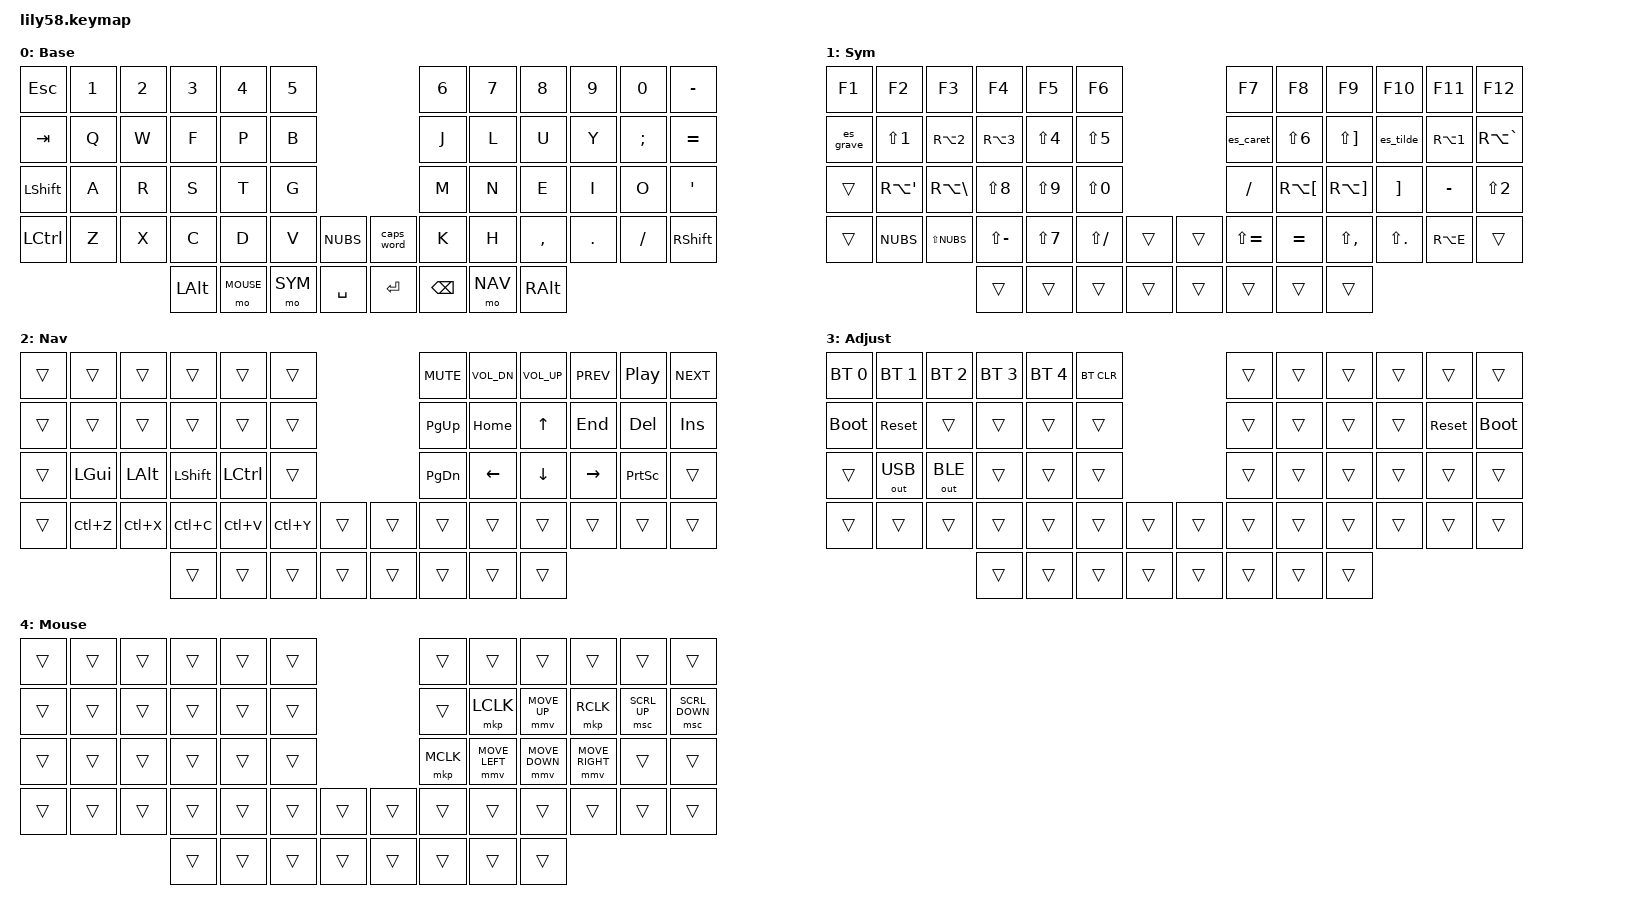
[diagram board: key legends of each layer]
/*
 * Lily58 - Colemak-DH para Windows con distribucion "Espanol (Espana)"
 * Enfocado en velocidad y ergonomia al tipear.
 *
 * IMPORTANTE: ZMK manda codigos de tecla "US". Como la PC esta en espanol,
 * cada tecla se traduce. Por eso aca los simbolos estan elegidos por la
 * tecla FISICA del layout espanol (ej: &kp SEMI = n con tilde, &kp LS(N8) = "(").
 *
 * Modificadores: Shift y Ctrl estan en los meniques (sin home row mods).
 *   Ctrl+C = Ctrl del menique izquierdo + C.
 *
 * Capas:
 *   0 BASE   Colemak-DH, la N con tilde arriba de la O
 *   1 SYM    (mantener pulgar izq.) simbolos de programacion + F1-F12
 *   2 NAV    (mantener pulgar der.) flechas, inicio/fin, multimedia
 *   3 ADJ    (SYM + NAV juntas) Bluetooth, USB/BLE, bootloader
 *   4 MOUSE  (mantener Esc del pulgar izq.) mover el mouse con las teclas de flechas de NAV
 */

#include <behaviors.dtsi>
#include <dt-bindings/zmk/bt.h>
#include <dt-bindings/zmk/ext_power.h>
#include <dt-bindings/zmk/keys.h>
#include <dt-bindings/zmk/outputs.h>
// Velocidad maxima del mouse (default 600 en ZMK). Mas alto = mas rapido.
#define ZMK_POINTING_DEFAULT_MOVE_VAL 1200
#include <dt-bindings/zmk/pointing.h>

#define BASE  0
#define SYM   1
#define NAV   2
#define ADJ   3
#define MOUSE 4

// Caps Word: tambien sigue activo con "_" (en espanol es Shift + la tecla de "-")
&caps_word {
    continue-list = <LS(FSLH) BACKSPACE DELETE>;
};

/ {
    macros {
        // En espanol ` ^ ~ son "teclas muertas": se manda la tecla + espacio
        // para que salga el simbolo solo (util para JS, regex, etc.)
        es_grave: es_grave {
            compatible = "zmk,behavior-macro";
            #binding-cells = <0>;
            bindings = <&macro_tap &kp LBKT &kp SPACE>;
        };
        es_caret: es_caret {
            compatible = "zmk,behavior-macro";
            #binding-cells = <0>;
            bindings = <&macro_tap &kp LS(LBKT) &kp SPACE>;
        };
        es_tilde: es_tilde {
            compatible = "zmk,behavior-macro";
            #binding-cells = <0>;
            bindings = <&macro_tap &kp RA(N4) &kp SPACE>;
        };
    };

    conditional_layers {
        compatible = "zmk,conditional-layers";
        adjust {
            if-layers = <SYM NAV>;
            then-layer = <ADJ>;
        };
    };

    keymap {
        compatible = "zmk,keymap";

        // ,-----------------------------------------.                    ,-----------------------------------------.
        // | ESC  |  1   |  2   |  3   |  4   |  5   |                    |  6   |  7   |  8   |  9   |  0   | ' ?  |
        // | TAB  |  Q   |  W   |  F   |  P   |  B   |                    |  J   |  L   |  U   |  Y   |  Ñ   | ¡ ¿  |
        // | SHFT |  A   |  R   |  S   |  T   |  G   |                    |  M   |  N   |  E   |  I   |  O   | ´ ¨  |
        // | CTRL |  Z   |  X   |  C   |  D   |  V   |-------.    ,-------|  K   |  H   | , ;  | . :  | - _  | SHFT |
        // `-----------------------------------------|  < >  |    |CAPSWRD|-----------------------------------------'
        //                    | ALT  |MOUSE | SYM  | SPACE |    | ENTER | BSPC | NAV  |AltGr |
        base {
            display-name = "Base";
            bindings = <
&kp ESC    &kp N1        &kp N2        &kp N3         &kp N4         &kp N5                               &kp N6   &kp N7         &kp N8         &kp N9        &kp N0        &kp MINUS
&kp TAB    &kp Q         &kp W         &kp F          &kp P          &kp B                                &kp J    &kp L          &kp U          &kp Y         &kp SEMI      &kp EQUAL
&kp LSHFT  &kp A         &kp R         &kp S          &kp T          &kp G                                &kp M    &kp N          &kp E          &kp I         &kp O         &kp SQT
&kp LCTRL  &kp Z         &kp X         &kp C          &kp D          &kp V    &kp NUBS      &caps_word    &kp K    &kp H          &kp COMMA      &kp DOT       &kp FSLH      &kp RSHFT
                                       &kp LALT       &mo MOUSE      &mo SYM  &kp SPACE     &kp RET       &kp BSPC &mo NAV        &kp RALT
            >;
        };

        // ,-----------------------------------------.                    ,-----------------------------------------.
        // |  F1  |  F2  |  F3  |  F4  |  F5  |  F6  |                    |  F7  |  F8  |  F9  | F10  | F11  | F12  |
        // |  `   |  !   |  @   |  #   |  $   |  %   |                    |  ^   |  &   |  *   |  ~   |  |   |  \   |
        // | SHFT |  {   |  }   |  (   |  )   |  =   |                    |  -   |  [   |  ]   |  +   |  '   |  "   |
        // | CTRL |  <   |  >   |  ?   |  /   |  _   |-------.    ,-------|  ¿   |  ¡   |  ;   |  :   |  €   | SHFT |
        // `-----------------------------------------|       |    |       |-----------------------------------------'
        //                    |      |      | ▓▓▓▓ |       |    |       |      | ADJ  |      |
        sym {
            display-name = "Sym";
            bindings = <
&kp F1     &kp F2       &kp F3       &kp F4      &kp F5      &kp F6                                 &kp F7         &kp F8       &kp F9       &kp F10      &kp F11     &kp F12
&es_grave  &kp LS(N1)   &kp RA(N2)   &kp RA(N3)  &kp LS(N4)  &kp LS(N5)                             &es_caret      &kp LS(N6)   &kp LS(RBKT) &es_tilde    &kp RA(N1)  &kp RA(GRAVE)
&trans     &kp RA(SQT)  &kp RA(BSLH) &kp LS(N8)  &kp LS(N9)  &kp LS(N0)                             &kp FSLH       &kp RA(LBKT) &kp RA(RBKT) &kp RBKT     &kp MINUS   &kp LS(N2)
&trans     &kp NUBS     &kp LS(NUBS) &kp LS(MINUS) &kp LS(N7) &kp LS(FSLH) &trans          &trans     &kp LS(EQUAL)  &kp EQUAL    &kp LS(COMMA) &kp LS(DOT) &kp RA(E)  &trans
                                     &trans      &trans      &trans      &trans            &trans     &trans         &trans       &trans
            >;
        };

        // ,-----------------------------------------.                    ,-----------------------------------------.
        // |      |      |      |      |      |      |                    | MUTE | VOL- | VOL+ | PREV | PLAY | NEXT |
        // |      |      |      |      |      |      |                    | PGUP | HOME |  UP  | END  | DEL  | INS  |
        // |      | WIN  | ALT  | SHFT | CTRL |      |                    | PGDN | LEFT | DOWN |RIGHT |PRTSC |      |
        // |      |CTRL+Z|CTRL+X|CTRL+C|CTRL+V|CTRL+Y|-------.    ,-------|      |      |      |      |      |      |
        // `-----------------------------------------|       |    |       |-----------------------------------------'
        //                    |      |      | ADJ  |       |    |       |      | ▓▓▓▓ |      |
        nav {
            display-name = "Nav";
            bindings = <
&trans  &trans      &trans      &trans      &trans      &trans                           &kp C_MUTE  &kp C_VOL_DN  &kp C_VOL_UP  &kp C_PREV  &kp C_PP     &kp C_NEXT
&trans  &trans      &trans      &trans      &trans      &trans                           &kp PG_UP   &kp HOME      &kp UP        &kp END     &kp DEL      &kp INS
&trans  &kp LGUI    &kp LALT    &kp LSHFT   &kp LCTRL   &trans                           &kp PG_DN   &kp LEFT      &kp DOWN      &kp RIGHT   &kp PSCRN    &trans
&trans  &kp LC(Z)   &kp LC(X)   &kp LC(C)   &kp LC(V)   &kp LC(Y)  &trans      &trans    &trans      &trans        &trans        &trans      &trans       &trans
                                &trans      &trans      &trans     &trans      &trans    &trans      &trans        &trans
            >;
        };

        // ,-----------------------------------------.                    ,-----------------------------------------.
        // | BT0  | BT1  | BT2  | BT3  | BT4  |BT CLR|                    |      |      |      |      |      |      |
        // | BOOT |RESET |      |      |      |      |                    |      |      |      |      |RESET | BOOT |
        // |      | USB  | BLE  |      |      |      |                    |      |      |      |      |      |      |
        // |      |      |      |      |      |      |-------.    ,-------|      |      |      |      |      |      |
        // `-----------------------------------------|       |    |       |-----------------------------------------'
        adjust {
            display-name = "Adjust";
            bindings = <
&bt BT_SEL 0  &bt BT_SEL 1  &bt BT_SEL 2  &bt BT_SEL 3  &bt BT_SEL 4  &bt BT_CLR                  &trans      &trans  &trans  &trans  &trans      &trans
&bootloader   &sys_reset    &trans        &trans        &trans        &trans                      &trans      &trans  &trans  &trans  &sys_reset  &bootloader
&trans        &out OUT_USB  &out OUT_BLE  &trans        &trans        &trans                      &trans      &trans  &trans  &trans  &trans      &trans
&trans        &trans        &trans        &trans        &trans        &trans  &trans      &trans  &trans      &trans  &trans  &trans  &trans      &trans
                                          &trans        &trans        &trans  &trans      &trans  &trans      &trans  &trans
            >;
        };

        // Mouse: mantener Esc (pulgar izq.). Posiciones iguales a las flechas de NAV.
        //   HOME = click izquierdo   END = click derecho   PG_DN = click central (ruedita)
        //   UP / LEFT / DOWN / RIGHT = mover el mouse      DEL / INS = scroll arriba / abajo
        // Lo demas (letras, pulgares) cae a la capa BASE, asi que se puede seguir tipeando.
        // ,-----------------------------------------.                    ,-----------------------------------------.
        // |      |      |      |      |      |      |                    |      |      |      |      |      |      |
        // |      |      |      |      |      |      |                    |      |LCLK  |  UP  | RCLK |SCRL+ |SCRL- |
        // |      |      |      |      |      |      |                    | MCLK | LEFT | DOWN |RIGHT |      |      |
        // |      |      |      |      |      |      |-------.    ,-------|      |      |      |      |      |      |
        // `-----------------------------------------|       |    |       |-----------------------------------------'
        mouse {
            display-name = "Mouse";
            bindings = <
&trans  &trans  &trans  &trans  &trans  &trans                      &trans  &trans  &trans  &trans  &trans  &trans
&trans  &trans  &trans  &trans  &trans  &trans                      &trans  &mkp LCLK  &mmv MOVE_UP  &mkp RCLK  &msc SCRL_UP  &msc SCRL_DOWN
&trans  &trans  &trans  &trans  &trans  &trans                      &mkp MCLK  &mmv MOVE_LEFT  &mmv MOVE_DOWN  &mmv MOVE_RIGHT  &trans  &trans
&trans  &trans  &trans  &trans  &trans  &trans  &trans      &trans  &trans  &trans  &trans  &trans  &trans  &trans
                        &trans  &trans  &trans  &trans      &trans  &trans  &trans  &trans
            >;
        };
    };
};
